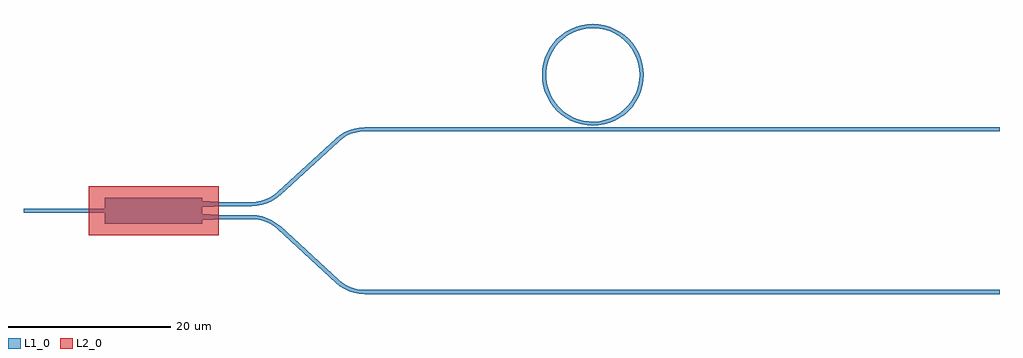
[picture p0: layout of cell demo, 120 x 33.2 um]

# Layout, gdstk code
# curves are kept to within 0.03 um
import gdstk
lib = gdstk.Library(unit=1e-6, precision=1e-09)
def R(c, l, rs):  # rectangles x0, y0, x1, y1
    for r in rs: c.add(gdstk.rectangle(r[:2], r[2:], *l))
def P(c, l, *ps):  # polygons
    for p in ps: c.add(gdstk.Polygon(p, *l))
L1_0 = (1, 0)
L2_0 = (2, 0)

demo = lib.new_cell('demo')
R(demo, L1_0, [(10,-1.6,22,1.6), (0,-0.25,10,0.25)])
P(demo, L1_0, [(22,0.4),(25,0.55),(25,1.05),(22,1.2)],
  [(25,1.05),(25,0.55),(28.05,0.55),(28.699,0.59),(29.338,0.711),(29.958,0.909),(30.548,1.182),(31.099,1.527),(31.604,1.936),(38.734,8.496),(39.191,8.866),(39.69,9.178),(40.224,9.425),(40.785,9.605),(41.363,9.714),(41.95,9.75),(120,9.75),(120,10.25),(41.95,10.25),(41.301,10.21),(40.662,10.089),(40.042,9.891),(39.452,9.618),(38.901,9.273),(38.396,8.864),(31.266,2.304),(30.809,1.934),(30.31,1.622),(29.776,1.375),(29.215,1.195),(28.637,1.086),(28.05,1.05)],
  [(22,-1.2),(25,-1.05),(25,-0.55),(22,-0.4)],
  [(25,-0.55),(25,-1.05),(28.05,-1.05),(28.637,-1.086),(29.215,-1.195),(29.776,-1.375),(30.31,-1.622),(30.809,-1.934),(31.266,-2.304),(38.396,-8.864),(38.901,-9.273),(39.452,-9.618),(40.042,-9.891),(40.662,-10.089),(41.301,-10.21),(41.95,-10.25),(120,-10.25),(120,-9.75),(41.95,-9.75),(41.363,-9.714),(40.785,-9.605),(40.224,-9.425),(39.69,-9.178),(39.191,-8.866),(38.734,-8.496),(31.604,-1.936),(31.099,-1.527),(30.548,-1.182),(29.958,-0.909),(29.338,-0.711),(28.699,-0.59),(28.05,-0.55)],
  [(76.25,16.7),(76.211,17.4),(76.093,18.091),(75.899,18.764),(75.631,19.412),(75.292,20.025),(74.886,20.597),(74.419,21.119),(73.897,21.586),(73.325,21.992),(72.712,22.331),(72.064,22.599),(71.391,22.793),(70.7,22.911),(70,22.95),(69.3,22.911),(68.609,22.793),(67.936,22.599),(67.288,22.331),(66.675,21.992),(66.103,21.586),(65.581,21.119),(65.114,20.597),(64.708,20.025),(64.369,19.412),(64.101,18.764),(63.907,18.091),(63.789,17.4),(63.75,16.7),(63.789,16),(63.907,15.309),(64.101,14.636),(64.369,13.988),(64.708,13.375),(65.114,12.803),(65.581,12.281),(66.103,11.814),(66.675,11.408),(67.288,11.069),(67.936,10.801),(68.609,10.607),(69.3,10.489),(70,10.45),(70.7,10.489),(71.391,10.607),(72.064,10.801),(72.712,11.069),(73.325,11.408),(73.897,11.814),(74.419,12.281),(74.886,12.803),(75.292,13.375),(75.631,13.988),(75.899,14.636),(76.093,15.309),(76.211,16),(76.25,16.7),(75.75,16.7),(75.71,16.02),(75.589,15.349),(75.39,14.698),(75.116,14.074),(74.769,13.488),(74.356,12.946),(73.881,12.457),(73.352,12.028),(72.776,11.665),(72.161,11.372),(71.516,11.153),(70.849,11.013),(70.17,10.953),(69.489,10.973),(68.816,11.073),(68.158,11.253),(67.527,11.509),(66.931,11.838),(66.377,12.235),(65.874,12.695),(65.43,13.211),(65.049,13.776),(64.738,14.382),(64.501,15.021),(64.341,15.683),(64.26,16.359),(64.26,17.041),(64.341,17.717),(64.501,18.379),(64.738,19.018),(65.049,19.624),(65.43,20.189),(65.874,20.705),(66.377,21.165),(66.931,21.562),(67.527,21.891),(68.158,22.147),(68.816,22.327),(69.489,22.427),(70.17,22.447),(70.849,22.387),(71.516,22.247),(72.161,22.028),(72.776,21.735),(73.352,21.372),(73.881,20.943),(74.356,20.454),(74.769,19.912),(75.116,19.326),(75.39,18.702),(75.589,18.051),(75.71,17.38),(75.75,16.7)])
R(demo, L2_0, [(8,-3,24,3)])

lib.write_gds('demo.gds')
